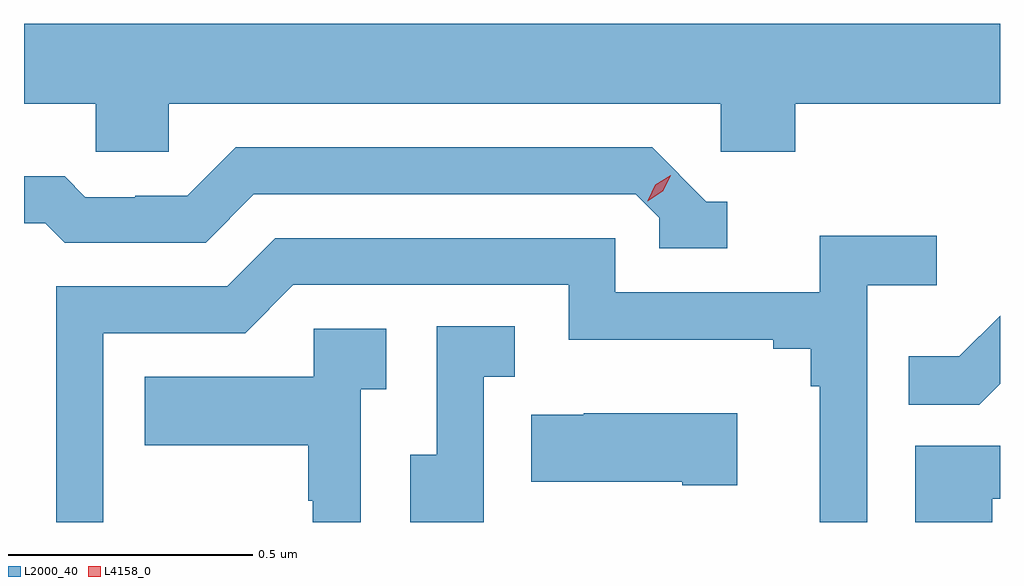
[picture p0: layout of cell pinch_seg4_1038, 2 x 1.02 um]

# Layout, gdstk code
import gdstk
lib = gdstk.Library(unit=1e-6, precision=1e-09)
def P(c, l, *ps):  # polygons
    for p in ps: c.add(gdstk.Polygon(p, *l))
L2000_40 = (2000, 40)
L4158_0 = (4158, 0)

pinch_seg4_1038 = lib.new_cell('pinch_seg4_1038')
P(pinch_seg4_1038, L2000_40, [(821.823,775.508),(822.954,775.508),(822.954,775.41),(823.106,775.41),(823.106,775.508),(823.526,775.508),(823.526,775.672),(821.526,775.672),(821.526,775.508),(821.673,775.508),(821.673,775.41),(821.823,775.41)],
  [(822.967,775.308),(822.924,775.308),(822.813,775.419),(821.96,775.419),(821.861,775.32),(821.754,775.32),(821.754,775.317),(821.651,775.317),(821.609,775.36),(821.526,775.36),(821.526,775.263),(821.57,775.263),(821.609,775.224),(821.898,775.224),(821.997,775.323),(822.78,775.323),(822.828,775.275),(822.828,775.212),(822.967,775.212)],
  [(821.688,775.038),(821.979,775.038),(822.078,775.137),(822.642,775.137),(822.642,775.025),(823.061,775.025),(823.061,775.006),(823.138,775.006),(823.138,774.929),(823.157,774.929),(823.157,774.651),(823.254,774.651),(823.254,775.136),(823.396,775.136),(823.396,775.238),(823.157,775.238),(823.157,775.122),(822.738,775.122),(822.738,775.233),(822.041,775.233),(821.942,775.134),(821.592,775.134),(821.592,774.651),(821.688,774.651)],
  [(823.526,774.935),(823.526,775.074),(823.443,774.991),(823.339,774.991),(823.339,774.892),(823.483,774.892)],
  [(822.468,774.949),(822.532,774.949),(822.532,775.052),(822.372,775.052),(822.372,774.789),(822.317,774.789),(822.317,774.651),(822.468,774.651)],
  [(822.216,774.923),(822.268,774.923),(822.268,775.047),(822.12,775.047),(822.12,774.949),(821.773,774.949),(821.773,774.809),(822.108,774.809),(822.108,774.695),(822.118,774.695),(822.118,774.651),(822.216,774.651)],
  [(822.988,774.874),(822.673,774.874),(822.673,774.871),(822.565,774.871),(822.565,774.734),(822.875,774.734),(822.875,774.727),(822.988,774.727)],
  [(823.51,774.699),(823.526,774.699),(823.526,774.807),(823.352,774.807),(823.352,774.651),(823.51,774.651)])
P(pinch_seg4_1038, L4158_0, [(822.804,775.309),(822.804,775.31),(822.82,775.342),(822.851,775.362),(822.851,775.362),(822.851,775.361),(822.835,775.329),(822.804,775.309)])

lib.write_gds('pinch_seg4_1038.gds')
